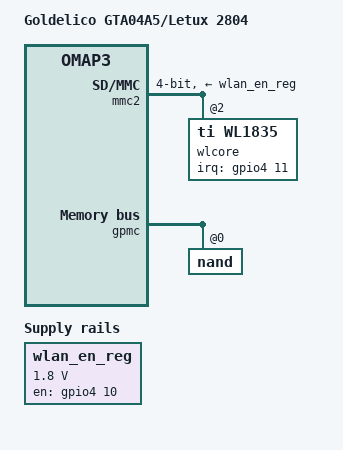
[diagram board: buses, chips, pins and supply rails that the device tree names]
/*
 * Copyright (C) 2014-16 H. Nikolaus Schaller <hns@goldelico.com>
 *
 * This program is free software; you can redistribute it and/or modify
 * it under the terms of the GNU General Public License version 2 as
 * published by the Free Software Foundation.
 */

#include "omap3-gta04.dtsi"

/ {
	model = "Goldelico GTA04A5/Letux 2804";

	sound {
		ti,jack-det-gpio = <&twl_gpio 2 GPIO_ACTIVE_HIGH>;    /* GTA04A5 only */
	};

	modem_en: modem { /* control modem power through rfkill */
		on-indicator-gpio = <&twl_gpio 15 0>;	/* GTA04A5 only: reset_out feedback from modem */
	};

};

&twl_power {
	compatible = "ti,twl4030-power-idle-osc-off";
};

/* http://lxr.free-electrons.com/source/Documentation/devicetree/bindings/net/wireless/ti,wlcore.txt */

// FIXME: disable all W2CBW logic

/ {
	wlan_en_reg: fixedregulator@2 {
		compatible = "regulator-fixed";
		regulator-name = "wlan-en-regulator";
		regulator-min-microvolt = <1800000>;
		regulator-max-microvolt = <1800000>;

	        gpio = <&gpio4 10 GPIO_ACTIVE_HIGH>;	/* GPIO_138 */

		startup-delay-us = <70000>;
		enable-active-high;
	};
};

&mmc2 {
	status = "okay";
	vmmc-supply = <&wlan_en_reg>;
	bus-width = <4>;
	cap-power-off-card;
	keep-power-in-suspend;

	#address-cells = <1>;
	#size-cells = <0>;
	wlcore: wlcore@2 {
		compatible = "ti,wl1835";
		reg = <2>;
		interrupt-parent = <&gpio4>;
		interrupts = <11 IRQ_TYPE_LEVEL_HIGH>;	/* GPIO_139 */
	};
};

// FIXME: add bluetooth enable: <&gpio4 9 GPIO_ACTIVE_HIGH> GPIO_137 */

&gpmc {
	/* modify inherited setup for OneNAND */

	ranges = <0 0 0x04000000 0x1000000>;	/* CS0: 16MB for OneNAND */

	/* FIXME: special pinmuxrequired? compare omap3-n900.dts */

	nand@0,0 { /* reuse the nand node instead of creating a new onenand node */
		#address-cells = <1>;
		#size-cells = <1>;
		reg = <0 0 0x20000>;	/* CS0, offset 0, IO size 128K */

		gpmc,sync-read;
		gpmc,sync-write;
		gpmc,burst-length = <16>;
		gpmc,burst-read;
		gpmc,burst-wrap;
		gpmc,burst-write;
		gpmc,device-width = <2>;
		gpmc,mux-add-data = <2>;
		gpmc,cs-on-ns = <0>;
		gpmc,cs-rd-off-ns = <87>;
		gpmc,cs-wr-off-ns = <87>;
		gpmc,adv-on-ns = <0>;
		gpmc,adv-rd-off-ns = <10>;
		gpmc,adv-wr-off-ns = <10>;
		gpmc,oe-on-ns = <15>;
		gpmc,oe-off-ns = <87>;
		gpmc,we-on-ns = <0>;
		gpmc,we-off-ns = <87>;
		gpmc,rd-cycle-ns = <112>;
		gpmc,wr-cycle-ns = <112>;
		gpmc,access-ns = <81>;
		gpmc,page-burst-access-ns = <15>;
		gpmc,bus-turnaround-ns = <0>;
		gpmc,cycle2cycle-delay-ns = <0>;
		gpmc,wait-monitoring-ns = <0>;
		gpmc,clk-activation-ns = <5>;
		gpmc,wr-data-mux-bus-ns = <30>;
		gpmc,wr-access-ns = <81>;
		gpmc,sync-clk-ps = <15000>;

	};
};
